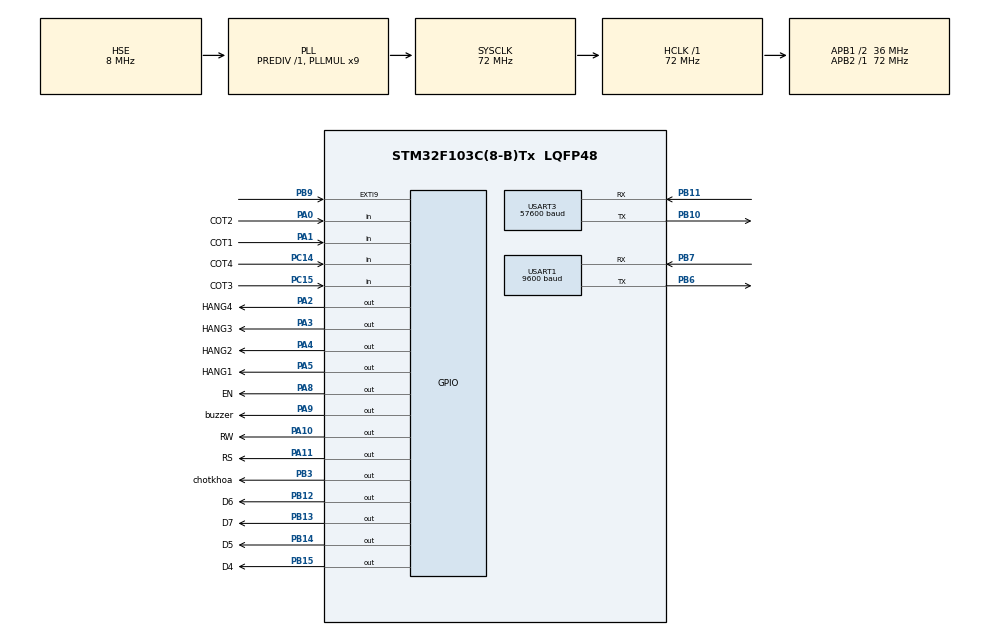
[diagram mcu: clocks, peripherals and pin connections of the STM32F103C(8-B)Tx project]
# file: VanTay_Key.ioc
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Mcu.Family=STM32F1
Mcu.Name=STM32F103C(8-B)Tx
Mcu.Package=LQFP48
NVIC.EXTI9_5_IRQn=true\:1\:0\:true\:false\:true\:true\:true\:true
NVIC.PriorityGroup=NVIC_PRIORITYGROUP_4
NVIC.USART1_IRQn=true\:0\:0\:false\:false\:true\:true\:true\:true
PA0-WKUP.GPIO_Label=COT2
PA0-WKUP.Signal=GPIO_Input
PA1.GPIO_Label=COT1
PA1.Signal=GPIO_Input
PA10.GPIO_Label=RW
PA10.Signal=GPIO_Output
PA11.GPIO_Label=RS
PA11.Signal=GPIO_Output
PA13.Mode=Serial_Wire
PA13.Signal=SYS_JTMS-SWDIO
PA14.Mode=Serial_Wire
PA14.Signal=SYS_JTCK-SWCLK
PA2.GPIO_Label=HANG4
PA2.GPIO_Speed=GPIO_SPEED_FREQ_HIGH
PA2.Signal=GPIO_Output
PA3.GPIO_Label=HANG3
PA3.GPIO_Speed=GPIO_SPEED_FREQ_HIGH
PA3.Signal=GPIO_Output
PA4.GPIO_Label=HANG2
PA4.GPIO_Speed=GPIO_SPEED_FREQ_HIGH
PA4.Signal=GPIO_Output
PA5.GPIO_Label=HANG1
PA5.GPIO_Speed=GPIO_SPEED_FREQ_HIGH
PA5.Signal=GPIO_Output
PA8.GPIO_Label=EN
PA8.Signal=GPIO_Output
PA9.GPIO_Label=buzzer
PA9.Signal=GPIO_Output
PB10.Mode=Asynchronous
PB10.Signal=USART3_TX
PB11.Mode=Asynchronous
PB11.Signal=USART3_RX
PB12.GPIO_Label=D6
PB12.Signal=GPIO_Output
PB13.GPIO_Label=D7
PB13.Signal=GPIO_Output
PB14.GPIO_Label=D5
PB14.Signal=GPIO_Output
PB15.GPIO_Label=D4
PB15.Signal=GPIO_Output
PB3.GPIO_Label=chotkhoa
PB3.Signal=GPIO_Output
PB6.Mode=Asynchronous
PB6.Signal=USART1_TX
PB7.Mode=Asynchronous
PB7.Signal=USART1_RX
PB9.GPIO_PuPd=GPIO_PULLUP
PB9.Signal=GPXTI9
PC14-OSC32_IN.GPIO_Label=COT4
PC14-OSC32_IN.Signal=GPIO_Input
PC15-OSC32_OUT.GPIO_Label=COT3
PC15-OSC32_OUT.GPIO_PuPd=GPIO_PULLUP
PC15-OSC32_OUT.Signal=GPIO_Input
PD0-OSC_IN.Mode=HSE-External-Oscillator
PD0-OSC_IN.Signal=RCC_OSC_IN
PD1-OSC_OUT.Mode=HSE-External-Oscillator
PD1-OSC_OUT.Signal=RCC_OSC_OUT
ProjectManager.HeapSize=0x200
ProjectManager.StackSize=0x400
ProjectManager.TargetToolchain=MDK-ARM V5.27
RCC.AHBFreq_Value=72000000
RCC.APB1CLKDivider=RCC_HCLK_DIV2
RCC.APB1Freq_Value=36000000
RCC.APB1TimFreq_Value=72000000
RCC.APB2Freq_Value=72000000
RCC.APB2TimFreq_Value=72000000
RCC.HCLKFreq_Value=72000000
RCC.PLLMUL=RCC_PLL_MUL9
RCC.PLLSourceVirtual=RCC_PLLSOURCE_HSE
RCC.SYSCLKFreq_VALUE=72000000
RCC.SYSCLKSource=RCC_SYSCLKSOURCE_PLLCLK
RCC.USBFreq_Value=72000000
USART1.BaudRate=9600
USART1.VirtualMode=VM_ASYNC
USART3.BaudRate=57600
USART3.VirtualMode=VM_ASYNC
board=custom

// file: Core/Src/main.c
/* USER CODE BEGIN Header */
/**
  ******************************************************************************
  * @file           : main.c
  * @brief          : Main program body
  ******************************************************************************
  * @attention
  *
  * <h2><center>&copy; Copyright (c) 2021 STMicroelectronics.
  * All rights reserved.</center></h2>
  *
  * This software component is licensed by ST under BSD 3-Clause license,
  * the "License"; You may not use this file except in compliance with the
  * License. You may obtain a copy of the License at:
  *                        opensource.org/licenses/BSD-3-Clause
  *
  ******************************************************************************
  */
/* USER CODE END Header */
#include "main.h"

/* USER CODE BEGIN Includes */
#include <LCD1602.h>
#include "dwt_delay.h"
#include "stdio.h"
#include "finger.h"
/* USER CODE END Includes */

/* USER CODE BEGIN PTD */
//Khai bАo cАc bien
#define Flash_Address     	0x0801FC00
#define TIME     	5000
uint8_t key;
uint8_t d=0,a=0,lansai=0,c,kp,dem;
uint8_t data[6] ;
uint8_t newdata[6]={'1','2','3','4','5','6'} ;
uint8_t newpass[6]={'1','1','1','1','1','1'} ;
uint8_t Rst[6]={'1','2','3','4','5','6'} ;
uint8_t user[6] ;
uint8_t user1[6] ;
uint32_t time_cho;
char mess[10];
extern char ReceivedData[100];
uint8_t receiver[20];
uint8_t dem;
extern uint8_t pID;
int tmp;
uint8_t ID=0;
int i;
uint8_t Rx_data[1];
/* USER CODE END PTD */

UART_HandleTypeDef huart1;
UART_HandleTypeDef huart3;

//Khoi tao GPIO, UART
void SystemClock_Config(void);
static void MX_GPIO_Init(void);
static void MX_USART3_UART_Init(void);
static void MX_USART1_UART_Init(void);
/* USER CODE BEGIN PFP */
uint16_t Read_flash(uint32_t adr)//doc flash
{
	uint16_t *Pntr =(uint16_t *)adr;
	return(*Pntr);
}
//----------------------------------------
void Unlock_flash(void)//mo khoa flash
{
	FLASH->KEYR=0x45670123;
	FLASH->KEYR=0xCDEF89AB;
}
//-----------------------------------------
void Lock_Flash(void)//khoa flash
{
	FLASH->CR=0x00000080;
}
//------------------------------------------
void Erase_Flash (uint32_t adr)//xoa flash
{
	FLASH->CR|=0x00000002;
	FLASH->AR=adr;
	FLASH->CR|=0x00000040;
	while((FLASH->SR&0x00000001));
	FLASH->CR &= ~0x00000042;
}
//------------------------------------------
void Write_Flash (uint32_t adr, uint16_t data)//ghi len flash
{
	FLASH->CR|=0x00000001;
	*(__IO uint16_t*)adr= data;
  while((FLASH->SR&0x00000001));
}
void FlashSave_data(uint32_t adr, uint16_t data)//luu data len flash
{
	//Unlock_flash();
	Erase_Flash(adr);
	Write_Flash(adr, data);
	//Lock_Flash();
}
/* USER CODE END PFP */

/* USER CODE BEGIN 0 */
void home ()// man hinh home khi vua mo lcd
{
	lcd_init();
	lcd_clear();
	lcd_send_string ("     Press *   ");
	d=0;
	HAL_Delay(1000);

}
void beep( uint8_t solan)//phat tieng coi tuy thuoc vao so lan
{

	while(solan--)
	{
		HAL_GPIO_WritePin(buzzer_GPIO_Port,buzzer_Pin,1);
		HAL_Delay(200);
		HAL_GPIO_WritePin(buzzer_GPIO_Port,buzzer_Pin,0);
		HAL_Delay(150);
	}
}
void dongmocua(void)//ham dong mo cua
{
	lcd_clear();
	beep(1);
	lcd_send_string("--** CUA MO **--");
	lcd_put_cur(1,2);
	lcd_send_string("XIN MOI VAO");
	HAL_GPIO_WritePin(chotkhoa_GPIO_Port,chotkhoa_Pin,GPIO_PIN_SET);

	HAL_Delay(TIME);
	lcd_clear();
	HAL_Delay(30);
	lcd_send_string("-----******-----");
	lcd_put_cur(1,2);
	lcd_send_string(" CUA DA DONG");
	HAL_Delay(100);
	HAL_GPIO_WritePin(chotkhoa_GPIO_Port,chotkhoa_Pin,GPIO_PIN_RESET);//khi cua da dong thi reset so lan nhap sai pass
	lansai=0;
	home();
}
void restore(void)//Ham khoi phuc lai bo nho flash
{
	int i=0;
  int addr=Flash_Address;
	for(i=0;i<6;i++)
	{
		user[i]=Read_flash(addr);
		addr=addr+4;
	}
	Lock_Flash();
}
void Store (void)// luu tru flash
{
	Unlock_flash();
	int i=0;
  int addr=Flash_Address;
	for(i=0;i<6;i++)
	{
		FlashSave_data(addr,data[i]);
		addr=addr+4;
	}
	Lock_Flash();
}
char read_keypad (void) //Ham doc ban phim
{
	/* Make ROW 1 LOW and all other ROWs HIGH */
	HAL_GPIO_WritePin (HANG1_GPIO_Port, HANG1_Pin, GPIO_PIN_RESET);  //Pull the R1 low
	HAL_GPIO_WritePin (HANG2_GPIO_Port, HANG2_Pin, GPIO_PIN_SET);  // Pull the R2 High
	HAL_GPIO_WritePin (HANG3_GPIO_Port, HANG3_Pin, GPIO_PIN_SET);  // Pull the R3 High
	HAL_GPIO_WritePin (HANG4_GPIO_Port, HANG4_Pin, GPIO_PIN_SET);  // Pull the R4 High

	if (!(HAL_GPIO_ReadPin (COT1_GPIO_Port, COT1_Pin)))   // if the Col 1 is low
	{
		while (!(HAL_GPIO_ReadPin (COT1_GPIO_Port, COT1_Pin)));   // wait till the button is pressed
		return '1';
	}

	if (!(HAL_GPIO_ReadPin (COT2_GPIO_Port, COT2_Pin)))   // if the Col 2 is low
	{
		while (!(HAL_GPIO_ReadPin (COT2_GPIO_Port, COT2_Pin)));   // wait till the button is pressed
		return '2';
	}

	if (!(HAL_GPIO_ReadPin (COT3_GPIO_Port, COT3_Pin)))   // if the Col 3 is low
	{
		while (!(HAL_GPIO_ReadPin (COT3_GPIO_Port, COT3_Pin)));   // wait till the button is pressed
		return '3';
	}

	if (!(HAL_GPIO_ReadPin (COT4_GPIO_Port, COT4_Pin)))   // if the Col 4 is low
	{
		while (!(HAL_GPIO_ReadPin (COT4_GPIO_Port, COT4_Pin)));   // wait till the button is pressed
		return 'A';
	}

	/* Make ROW 2 LOW and all other ROWs HIGH */
	HAL_GPIO_WritePin (HANG1_GPIO_Port, HANG1_Pin, GPIO_PIN_SET);  //Pull the R1 low
	HAL_GPIO_WritePin (HANG2_GPIO_Port, HANG2_Pin, GPIO_PIN_RESET);  // Pull the R2 High
	HAL_GPIO_WritePin (HANG3_GPIO_Port, HANG3_Pin, GPIO_PIN_SET);  // Pull the R3 High
	HAL_GPIO_WritePin (HANG4_GPIO_Port, HANG4_Pin, GPIO_PIN_SET);  // Pull the R4 High

	if (!(HAL_GPIO_ReadPin (COT1_GPIO_Port, COT1_Pin)))   // if the Col 1 is low
	{
		while (!(HAL_GPIO_ReadPin (COT1_GPIO_Port, COT1_Pin)));   // wait till the button is pressed
		return '4';
	}

	if (!(HAL_GPIO_ReadPin (COT2_GPIO_Port, COT2_Pin)))   // if the Col 2 is low
	{
		while (!(HAL_GPIO_ReadPin (COT2_GPIO_Port, COT2_Pin)));   // wait till the button is pressed
		return '5';
	}

	if (!(HAL_GPIO_ReadPin (COT3_GPIO_Port, COT3_Pin)))   // if the Col 3 is low
	{
		while (!(HAL_GPIO_ReadPin (COT3_GPIO_Port, COT3_Pin)));   // wait till the button is pressed
		return '6';
	}

	if (!(HAL_GPIO_ReadPin (COT4_GPIO_Port, COT4_Pin)))   // if the Col 4 is low
	{
		while (!(HAL_GPIO_ReadPin (COT4_GPIO_Port, COT4_Pin)));   // wait till the button is pressed
		return 'B';
	}

	/* Make ROW 3 LOW and all other ROWs HIGH */
	HAL_GPIO_WritePin (HANG1_GPIO_Port, HANG1_Pin, GPIO_PIN_SET);  //Pull the R1 low
	HAL_GPIO_WritePin (HANG2_GPIO_Port, HANG2_Pin, GPIO_PIN_SET);  // Pull the R2 High
	HAL_GPIO_WritePin (HANG3_GPIO_Port, HANG3_Pin, GPIO_PIN_RESET);  // Pull the R3 High
	HAL_GPIO_WritePin (HANG4_GPIO_Port, HANG4_Pin, GPIO_PIN_SET);  // Pull the R4 High

	if (!(HAL_GPIO_ReadPin (COT1_GPIO_Port, COT1_Pin)))   // if the Col 1 is low
	{
		while (!(HAL_GPIO_ReadPin (COT1_GPIO_Port, COT1_Pin)));   // wait till the button is pressed
		return '7';
	}

	if (!(HAL_GPIO_ReadPin (COT2_GPIO_Port, COT2_Pin)))   // if the Col 2 is low
	{
		while (!(HAL_GPIO_ReadPin (COT2_GPIO_Port, COT2_Pin)));   // wait till the button is pressed
		return '8';
	}

	if (!(HAL_GPIO_ReadPin (COT3_GPIO_Port, COT3_Pin)))   // if the Col 3 is low
	{
		while (!(HAL_GPIO_ReadPin (COT3_GPIO_Port, COT3_Pin)));   // wait till the button is pressed
		return '9';
	}

	if (!(HAL_GPIO_ReadPin (COT4_GPIO_Port, COT4_Pin)))   // if the Col 4 is low
	{
		while (!(HAL_GPIO_ReadPin (COT4_GPIO_Port, COT4_Pin)));   // wait till the button is pressed
		return 'C';
	}

	/* Make ROW 4 LOW and all other ROWs HIGH */
	HAL_GPIO_WritePin (HANG1_GPIO_Port, HANG1_Pin, GPIO_PIN_SET);  //Pull the R1 low
	HAL_GPIO_WritePin (HANG2_GPIO_Port, HANG2_Pin, GPIO_PIN_SET);  // Pull the R2 High
	HAL_GPIO_WritePin (HANG3_GPIO_Port, HANG3_Pin, GPIO_PIN_SET);  // Pull the R3 High
	HAL_GPIO_WritePin (HANG4_GPIO_Port, HANG4_Pin, GPIO_PIN_RESET);  // Pull the R4 High

	if (!(HAL_GPIO_ReadPin (COT1_GPIO_Port, COT1_Pin)))   // if the Col 1 is low
	{
		while (!(HAL_GPIO_ReadPin (COT1_GPIO_Port, COT1_Pin)));   // wait till the button is pressed
		return '*';
	}

	if (!(HAL_GPIO_ReadPin (COT2_GPIO_Port, COT2_Pin)))   // if the Col 2 is low
	{
		while (!(HAL_GPIO_ReadPin (COT2_GPIO_Port, COT2_Pin)));   // wait till the button is pressed
		return '0';
	}

	if (!(HAL_GPIO_ReadPin (COT3_GPIO_Port, COT3_Pin)))   // if the Col 3 is low
	{
		while (!(HAL_GPIO_ReadPin (COT3_GPIO_Port, COT3_Pin)));   // wait till the button is pressed
		return '#';
	}

	if (!(HAL_GPIO_ReadPin (COT4_GPIO_Port, COT4_Pin)))   // if the Col 4 is low
	{
		while (!(HAL_GPIO_ReadPin (COT4_GPIO_Port, COT4_Pin)));   // wait till the button is pressed
		return 'D';
	}
	return 0;
}

void quet_key(void)//ham quet ban phim
{
		kp = 0;
		do
		{
			kp = read_keypad();
		}
		while(!kp);

		data[d] = kp;
		HAL_GPIO_WritePin(buzzer_GPIO_Port,buzzer_Pin,GPIO_PIN_SET);
		lcd_put_cur(1,0+d);
		lcd_send_data(data[d]);
		HAL_Delay(220);
		HAL_GPIO_WritePin(buzzer_GPIO_Port,buzzer_Pin,GPIO_PIN_RESET);
		d++;
}
void quet_key1(void)//ham quet ban phim
{
		kp = 0;
		do
		{
			kp = read_keypad();
		}
		while(!kp);

		data[d] = kp;
		if(data[d]==	'C')
		{
			d=0,a=-1;
			lcd_clear();
			lcd_send_string("Moi Nhap MK");
		}
		else
		{
			HAL_GPIO_WritePin(buzzer_GPIO_Port,buzzer_Pin,GPIO_PIN_SET);
			lcd_put_cur(1,0+d);
			if(data[d]!='#')
				lcd_send_data('*');
			else
			lcd_send_data(data[d]);
			HAL_Delay(50);
			HAL_GPIO_WritePin(buzzer_GPIO_Port,buzzer_Pin,GPIO_PIN_RESET);
			d++;
		}
}

//---------- them van tay---------------
void add_finger()
{
	vitri2:
	while(1)
	{
		collect_finger();
		lcd_clear();
		lcd_put_cur(0,0);
		lcd_send_string("  Them Van Tay!!     ");
		lcd_put_cur(1,0);
		lcd_send_string("Dat Van Tay!!     ");
		HAL_Delay(1000);
	// dat tay vao
		lcd_put_cur(1,0);
		lcd_send_string("Reading finger...!!     ");
		tmp=0xff;
		while(tmp!=0x00){
			collect_finger();
			collect_finger();
			tmp= collect_finger();
		}
		tmp=0xff;
		lcd_put_cur(1,0);
		lcd_send_string("Remove Finger!!   ");HAL_Delay(100);
		lcd_put_cur(1,0);
		lcd_send_string("Processing Finger!!   ");
		tmp=0xff;
		while(tmp!=0x00){
		tmp=img2tz(0x01);
		}
		lcd_put_cur(1,0);
		lcd_send_string("dat lai van tay !!   ");HAL_Delay(100);
		lcd_put_cur(1,0);
		lcd_send_string("Reading finger...!!     ");
		tmp=0xff;
		while(tmp!=0x00)	{
			collect_finger();
			collect_finger();
			tmp=collect_finger();
		}
		lcd_put_cur(1,0);
		lcd_send_string("Remove Finger!!   ");HAL_Delay(100);
		tmp=0xff;
		lcd_put_cur(1,0);
		lcd_send_string("Processing Finger!!   ");
		while(tmp!=0x00)	{tmp=img2tz(0x02);}
		tmp=0xff;
		// kiem tra 2 buff co trung nhau khong
		while(tmp!=0x00)
		{
			tmp=match();	//HAL_Delay(100);
			if(tmp==0x08||tmp==0x01)
			{
				// loi, lam lai
					lcd_put_cur(1,0);
					lcd_send_string("LOI, Lam Lai!!   ");HAL_Delay(1500);
				goto vitri2;
			}
		}
		tmp=0xff;
		while(tmp!=0x00){tmp=regmodel();HAL_Delay(100);}
		tmp=0xff;
		while(tmp!=0x00){tmp=store(ID);HAL_Delay(100);}			// luu id
		lcd_put_cur(1,0);
		lcd_send_string("  Save Finger!    ");
		beep(5);

				/***************** DA LUU XONG**************************/
		HAL_Delay(1500);
		tmp=0xff;
		break;
	}
}
						//----------end them van tay---------------
void read_finger()
{
/**************************BEgin Doc van tay*****************************/
	tmp=0xff;
	time_cho=HAL_GetTick();
	while(tmp!=0x00){
		tmp=collect_finger();
		if(HAL_GetTick()-time_cho>=1600) {
		time_cho=HAL_GetTick();
		return;}

	}
	tmp=0xff;
	if(tmp!=0x00){tmp=img2tz(0x01);}
	tmp=0xff;
	tmp=search();
	if(tmp==0x00)
	{
		tmp=0xff;	// co van tay
		lcd_put_cur(1,0);
		lcd_send_string("Mo Cua!");
		sprintf(mess," #id = %c  ",pID);
		lcd_send_string(mess);
		dongmocua();
	}
	if(tmp==0x09)	// khong co van tay
	{
		tmp=0xff;
		lcd_put_cur(1,0);
		lcd_send_string(" Van Tay Sai!!     ");beep(5); HAL_Delay(1000);
	}
}
/* USER CODE END 0 */

int main(void)
{

  /* MCU Configuration--------------------------------------------------------*/

  /* Reset of all peripherals, Initializes the Flash interface and the Systick. */
  HAL_Init();

  /* Configure the system clock */
  SystemClock_Config();

  /* Initialize all configured peripherals */
  MX_GPIO_Init();
  MX_USART3_UART_Init();
  MX_USART1_UART_Init();
  /* USER CODE BEGIN 2 */
	DWT_Init();
	lcd_init();
	lcd_send_string(" Khoa Van Tay");
	lcd_put_cur(1,1);
	lcd_send_string("DATN HaUI 2024");
	HAL_Delay(1000);
	lcd_clear();
	lcd_send_string ("     Press *     ");
	restore();
	HAL_UART_Receive_IT(&huart1, (uint8_t*)Rx_data, 1);
  /* USER CODE END 2 */

  /* Infinite loop */
  while (1)
  {

    /* USER CODE BEGIN 3 */
		switch(read_keypad())//doc ban phim
		{
			case '*' :
				{
					HAL_GPIO_WritePin(buzzer_GPIO_Port,buzzer_Pin,GPIO_PIN_SET);
					HAL_Delay(100);
					HAL_GPIO_WritePin(buzzer_GPIO_Port,buzzer_Pin,GPIO_PIN_RESET);
					lcd_clear();
					HAL_Delay(30);
					lcd_send_string("Moi Nhap MK");
					HAL_Delay(500);
					for(a=0;a<6;a++)
					{
						quet_key1();
					}
					d=0;
					if(data[0] == '*' && data[1] == '#' && data [2] == '*' && data[3] == '#' && data[4] == '*' && data[5] == '#')
					{
						lcd_clear();
						lcd_send_string("Nhap MK Cu");
						for(a=0;a<6;a++)
						{
							quet_key();
						}
						d=0;
						if(data[0] == newdata[0] && data[1] == newdata[1] && data [2] == newdata[2]
							&& data[3] == newdata[3] && data[4] == newdata[4] && data[5] == newdata[5])
						{

							lcd_clear();
							lcd_send_string("Nhap MK Moi");
							for(a=0;a<6;a++)
							{
								quet_key();
							}
							d=0;
							Store();
							HAL_Delay(50);
							lcd_clear();
							lcd_send_string("Doi MK Thanh Cong");
							beep(2);
							restore();
							home();
						}
						else goto vitri1;
					}
				else if (data[0] == newdata[0] && data[1] == newdata[1] && data [2] == newdata[2]
					&& data[3] == newdata[3] && data[4] == newdata[4] && data[5] == newdata[5])
				{
					dongmocua();
				}
				else if (data[0] == newpass[0] && data[1] == newpass[1] && data [2] == newpass[2]
					&& data[3] == newpass[3] && data[4] == newpass[4] && data[5] == newpass[5])
				{
					dongmocua();
				}
				else
				{
					vitri1:
						lansai++;
						lcd_clear();
						HAL_Delay(30);
						lcd_put_cur(0,0);
						lcd_send_string("-----******-----");
						lcd_put_cur(1,0);
						lcd_send_string("MK KHONG DUNG");
						beep(5);
						if (lansai==3)
						{
							lcd_clear();
							lcd_put_cur(0,0);
							lcd_send_string("--SAI QUA NHIEU-- ");
							lcd_put_cur(1,0);
							lcd_send_string("XIN THU LAI");
							dem=10;
							time_cho=HAL_GetTick();
							while(1)
							{
									if(HAL_GetTick()-time_cho==1000)
									{
										dem--;
										time_cho=HAL_GetTick();
										sprintf(mess,"%d ", dem);
										lcd_put_cur(1,14);
										lcd_send_string(mess);
									}
									if (dem==0)	break;
							}
							home();
						}
						else if(lansai==4)
						{
							lcd_clear();
							HAL_Delay(30);
							lcd_put_cur(0,0);
							lcd_send_string("--SAI QUA NHIEU-- ");
							lcd_put_cur(1,0);
							lcd_send_string("XIN THU LAI");
							dem=20;
							time_cho=HAL_GetTick();
							while(1)
							{
									if(HAL_GetTick()-time_cho==1000)
									{
										dem--;
										time_cho=HAL_GetTick();
										sprintf(mess,"%d ", dem);
										lcd_put_cur(1,14);
										lcd_send_string(mess);
									}
									if (dem==0)	break;
							}
						home();
						}
						else if(lansai>=5)
						{
							while(1){
								lcd_clear();
								lcd_put_cur(0,0);
								lcd_send_string("--Khoa Mat Khau-- ");
								lcd_put_cur(1,0);
								lcd_send_string("Moi Nhap Van Tay");
								read_finger();
							}
						}
				}
				break;
			}
			case 'D' :											///  reset pass mk mac dinh 123456
			{
				lcd_clear();
				lcd_send_string("    Advanced");
				for(a=0;a<6;a++)
				{
					quet_key();
				}
				d=0;
				if(data[0] == 'D' && data[1] == 'C' && data [2] == 'D' && data[3] == 'C' && data[4] == 'D' && data[5] == 'C')
				{
					lcd_clear();
					lcd_put_cur(0,0);
					lcd_send_string("RESET PASSWORD ");
					Unlock_flash();
					int i=0;
					int addr=Flash_Address;
					for(i=0;i<6;i++)
					{
						FlashSave_data(addr,Rst[i]);
						addr=addr+4;
					}
					Lock_Flash();
					HAL_Delay(2000);
					empty();
					NVIC_SystemReset();
				}
				else
				{
					home();
				}
			}
			case 'A':
			{
				lcd_clear();
				lcd_send_string("Nhap MK");				// nhap mat khau de them van tay
				for(a=0;a<6;a++)
				{
					quet_key();
				}
				d=0;
				if(data[0] == newpass[0] && data[1] == newpass[1] && data [2] == newpass[2]
					&& data[3] == newpass[3] && data[4] == newpass[4] && data[5] == newpass[5])
				{
					lcd_clear();
					lcd_send_string("Them van tay");
					lcd_put_cur(1,0);
					lcd_send_string("ID = ");
					d= 5;
					for(a=0;a<1;a++)
					{
						quet_key();
					}
					ID=data[5];
					HAL_Delay(500);
					add_finger();
				}
				else
				{
					goto vitri1;
				}
				home();
				break;
			}
			case 'B':																							// xoa van tay
			{
				lcd_clear();
				lcd_send_string("Nhap MK");				// nhap mat khau de them van tay
				for(a=0;a<6;a++)
				{
					quet_key();
				}
				d=0;
				if(data[0] == newpass[0] && data[1] == newpass[1] && data [2] == newpass[2]
					&& data[3] == newpass[3] && data[4] == newpass[4] && data[5] == newpass[5])
				{
					lcd_clear();
					lcd_send_string("Xoa van tay");
					lcd_put_cur(1,0);
					lcd_send_string("ID = ");
					d= 5;
					for(a=0;a<1;a++)
					{
						quet_key();
					}
					ID=data[5];
					HAL_Delay(10);
					del(ID);
					lcd_put_cur(1,0);
					lcd_send_string("  Da Xoa      ");
					HAL_Delay(200);
				}
				else
					goto vitri1;
				home();
				break;
			}
			default:																		// mac dinh chay van t
			{
				if(Rx_data[0] == 'a'){
						lcd_clear();
						lcd_send_string("--** CUA MO **--");
						lcd_put_cur(1,2);
						lcd_send_string("XIN MOI VAO");
						HAL_GPIO_WritePin(chotkhoa_GPIO_Port,chotkhoa_Pin,GPIO_PIN_SET);
				}
				else if(Rx_data[0] == 'z'){
					lcd_clear();
					HAL_Delay(30);
					lcd_send_string("-----******-----");
					lcd_put_cur(1,2);
					lcd_send_string(" CUA DA DONG");
					HAL_Delay(2000);
					HAL_GPIO_WritePin(chotkhoa_GPIO_Port,chotkhoa_Pin,GPIO_PIN_RESET);
					home();
				}
				else{
					read_finger();
					lcd_clear();
					lcd_send_string ("     Press *     ");
				}
				//if(HAL_GPIO_ReadPin(BTN_GPIO_Port,BTN_Pin)==0)	dongmocua();
				break;
			}
		}
  }
  /* USER CODE END 3 */
}

void SystemClock_Config(void)
{
  RCC_OscInitTypeDef RCC_OscInitStruct = {0};
  RCC_ClkInitTypeDef RCC_ClkInitStruct = {0};

  /** Initializes the RCC Oscillators according to the specified parameters
  * in the RCC_OscInitTypeDef structure.
  */
  RCC_OscInitStruct.OscillatorType = RCC_OSCILLATORTYPE_HSE;
  RCC_OscInitStruct.HSEState = RCC_HSE_ON;
  RCC_OscInitStruct.HSEPredivValue = RCC_HSE_PREDIV_DIV1;
  RCC_OscInitStruct.HSIState = RCC_HSI_ON;
  RCC_OscInitStruct.PLL.PLLState = RCC_PLL_ON;
  RCC_OscInitStruct.PLL.PLLSource = RCC_PLLSOURCE_HSE;
  RCC_OscInitStruct.PLL.PLLMUL = RCC_PLL_MUL9;
  if (HAL_RCC_OscConfig(&RCC_OscInitStruct) != HAL_OK)
  {
    Error_Handler();
  }
  /** Initializes the CPU, AHB and APB buses clocks
  */
  RCC_ClkInitStruct.ClockType = RCC_CLOCKTYPE_HCLK|RCC_CLOCKTYPE_SYSCLK
                              |RCC_CLOCKTYPE_PCLK1|RCC_CLOCKTYPE_PCLK2;
  RCC_ClkInitStruct.SYSCLKSource = RCC_SYSCLKSOURCE_PLLCLK;
  RCC_ClkInitStruct.AHBCLKDivider = RCC_SYSCLK_DIV1;
  RCC_ClkInitStruct.APB1CLKDivider = RCC_HCLK_DIV2;
  RCC_ClkInitStruct.APB2CLKDivider = RCC_HCLK_DIV1;

  if (HAL_RCC_ClockConfig(&RCC_ClkInitStruct, FLASH_LATENCY_2) != HAL_OK)
  {
    Error_Handler();
  }
}

static void MX_USART1_UART_Init(void)
{

  huart1.Instance = USART1;
  huart1.Init.BaudRate = 9600;
  huart1.Init.WordLength = UART_WORDLENGTH_8B;
  huart1.Init.StopBits = UART_STOPBITS_1;
  huart1.Init.Parity = UART_PARITY_NONE;
  huart1.Init.Mode = UART_MODE_TX_RX;
  huart1.Init.HwFlowCtl = UART_HWCONTROL_NONE;
  huart1.Init.OverSampling = UART_OVERSAMPLING_16;
  if (HAL_UART_Init(&huart1) != HAL_OK)
  {
    Error_Handler();
  }

}

static void MX_USART3_UART_Init(void)
{

  huart3.Instance = USART3;
  huart3.Init.BaudRate = 57600;
  huart3.Init.WordLength = UART_WORDLENGTH_8B;
  huart3.Init.StopBits = UART_STOPBITS_1;
  huart3.Init.Parity = UART_PARITY_NONE;
  huart3.Init.Mode = UART_MODE_TX_RX;
  huart3.Init.HwFlowCtl = UART_HWCONTROL_NONE;
  huart3.Init.OverSampling = UART_OVERSAMPLING_16;
  if (HAL_UART_Init(&huart3) != HAL_OK)
  {
    Error_Handler();
  }

}

static void MX_GPIO_Init(void)
{
  GPIO_InitTypeDef GPIO_InitStruct = {0};

  /* GPIO Ports Clock Enable */
  __HAL_RCC_GPIOC_CLK_ENABLE();
  __HAL_RCC_GPIOD_CLK_ENABLE();
  __HAL_RCC_GPIOA_CLK_ENABLE();
  __HAL_RCC_GPIOB_CLK_ENABLE();

  /*Configure GPIO pin Output Level */
  HAL_GPIO_WritePin(GPIOA, HANG4_Pin|HANG3_Pin|HANG2_Pin|HANG1_Pin
                          |EN_Pin|buzzer_Pin|RW_Pin|RS_Pin, GPIO_PIN_RESET);

  /*Configure GPIO pin Output Level */
  HAL_GPIO_WritePin(GPIOB, D6_Pin|D7_Pin|D5_Pin|D4_Pin
                          |chotkhoa_Pin, GPIO_PIN_RESET);

  /*Configure GPIO pin : COT4_Pin */
  GPIO_InitStruct.Pin = COT4_Pin;
  GPIO_InitStruct.Mode = GPIO_MODE_INPUT;
  GPIO_InitStruct.Pull = GPIO_NOPULL;
  HAL_GPIO_Init(COT4_GPIO_Port, &GPIO_InitStruct);

  /*Configure GPIO pin : COT3_Pin */
  GPIO_InitStruct.Pin = COT3_Pin;
  GPIO_InitStruct.Mode = GPIO_MODE_INPUT;
  GPIO_InitStruct.Pull = GPIO_PULLUP;
  HAL_GPIO_Init(COT3_GPIO_Port, &GPIO_InitStruct);

  /*Configure GPIO pins : COT2_Pin COT1_Pin */
  GPIO_InitStruct.Pin = COT2_Pin|COT1_Pin;
  GPIO_InitStruct.Mode = GPIO_MODE_INPUT;
  GPIO_InitStruct.Pull = GPIO_NOPULL;
  HAL_GPIO_Init(GPIOA, &GPIO_InitStruct);

  /*Configure GPIO pins : HANG4_Pin HANG3_Pin HANG2_Pin HANG1_Pin */
  GPIO_InitStruct.Pin = HANG4_Pin|HANG3_Pin|HANG2_Pin|HANG1_Pin;
  GPIO_InitStruct.Mode = GPIO_MODE_OUTPUT_PP;
  GPIO_InitStruct.Pull = GPIO_NOPULL;
  GPIO_InitStruct.Speed = GPIO_SPEED_FREQ_HIGH;
  HAL_GPIO_Init(GPIOA, &GPIO_InitStruct);

  /*Configure GPIO pins : D6_Pin D7_Pin D5_Pin D4_Pin
                           chotkhoa_Pin */
  GPIO_InitStruct.Pin = D6_Pin|D7_Pin|D5_Pin|D4_Pin
                          |chotkhoa_Pin;
  GPIO_InitStruct.Mode = GPIO_MODE_OUTPUT_PP;
  GPIO_InitStruct.Pull = GPIO_NOPULL;
  GPIO_InitStruct.Speed = GPIO_SPEED_FREQ_LOW;
  HAL_GPIO_Init(GPIOB, &GPIO_InitStruct);

  /*Configure GPIO pins : EN_Pin buzzer_Pin RW_Pin RS_Pin */
  GPIO_InitStruct.Pin = EN_Pin|buzzer_Pin|RW_Pin|RS_Pin;
  GPIO_InitStruct.Mode = GPIO_MODE_OUTPUT_PP;
  GPIO_InitStruct.Pull = GPIO_NOPULL;
  GPIO_InitStruct.Speed = GPIO_SPEED_FREQ_LOW;
  HAL_GPIO_Init(GPIOA, &GPIO_InitStruct);

  /*Configure GPIO pin : PB9 */
  GPIO_InitStruct.Pin = GPIO_PIN_9;
  GPIO_InitStruct.Mode = GPIO_MODE_IT_RISING;
  GPIO_InitStruct.Pull = GPIO_PULLUP;
  HAL_GPIO_Init(GPIOB, &GPIO_InitStruct);

  /* EXTI interrupt init*/
  HAL_NVIC_SetPriority(EXTI9_5_IRQn, 1, 0);
  HAL_NVIC_EnableIRQ(EXTI9_5_IRQn);

}

/* USER CODE BEGIN 4 */
void HAL_UART_RxCpltCallback(UART_HandleTypeDef *huart){

	if(huart->Instance == USART1){
		HAL_UART_Receive_IT(&huart1, (uint8_t*)Rx_data, 1);
	}
}
/* USER CODE END 4 */

void Error_Handler(void)
{
  __disable_irq();
  while (1)
  {
  }
}

/************************ (C) COPYRIGHT STMicroelectronics *****END OF FILE****/
